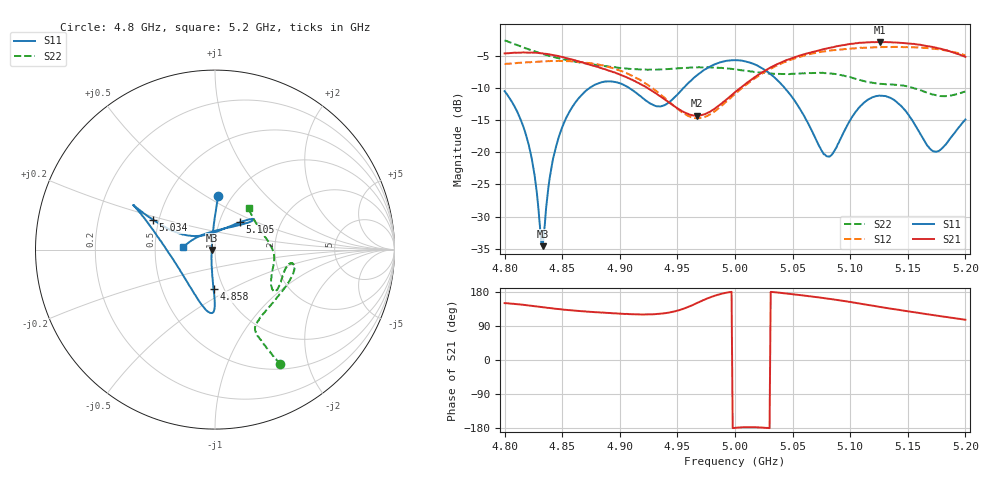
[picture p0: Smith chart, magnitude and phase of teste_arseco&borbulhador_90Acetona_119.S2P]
! Network Analyzer HP8722D
! Hewlett-Packard
! Data name: Linha & Wilkinson
! Saver's name: Rodrigo Anjos
! Comments: Teste da utilização de aquisição
! continua pelo VNA HP8722D
! Time and date: 17/4/2025 12:02
!  Frequency  S11  S21  S12  S22
# HZ  S  MA R 50
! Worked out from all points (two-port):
!   401 points, 4.8 GHz to 5.2 GHz, reference 50 ohm
!   highest |S21| = -2.91 dB at 5.126 GHz (marker M1); lowest = -14.3 dB at 4.967 GHz (marker M2)
!   |S21| within 3 dB of the highest: start of sweep to 4.864 GHz; 5.042 GHz to end of sweep
!   lowest |S11| = -34.6 dB at 4.833 GHz (marker M3), VSWR 1.04, Z = 48.2 - j0.244 ohm
!   |S11| at or under -10 dB: start of sweep to 4.874 GHz; 4.908 GHz to 4.955 GHz (47.62 MHz wide, 0.966 % of centre); 5.043 GHz to end of sweep
!   |S22| runs from -11.3 to -2.7 dB; largest |S21 - S12| = 1.3
!   S11 on the Smith chart (normalised r, x): 4.8 GHz: 0.86, +0.56; 4.858 GHz: 0.90, -0.41; 5.034 GHz: 0.47, +0.18; 5.105 GHz: 1.25, +0.40; 5.2 GHz: 0.70, +0.02
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4.8e9  0.2973 86.7  0.584 150.1  0.4831 -111.5  0.7361 -60.4
4.811e9  0.2058 89.1  0.5912 147.3  0.4933 -111.5  0.6781 -61.3
4.82e9  0.1225 94.0  0.593 144.5  0.499 -110.8  0.6325 -62.0
4.825e9  0.0747 99.9  0.5916 142.4  0.5016 -110.4  0.6097 -62.4
4.831e9  0.02407 136.4  0.586 140.1  0.5048 -109.9  0.5853 -62.8
4.833e9  0.01865 -172.2  0.5841 139.6  0.5061 -109.9  0.5783 -63.0
4.839e9  0.06194 -108.1  0.5725 137.3  0.5081 -109.5  0.5576 -63.3
4.843e9  0.09647 -100.7  0.5655 135.6  0.5097 -109.3  0.5464 -63.4
4.858e9  0.2185 -92.1  0.5263 131.0  0.5061 -109.1  0.5103 -63.8
4.867e9  0.2791 -90.5  0.4985 128.8  0.4996 -109.4  0.4947 -63.2
4.899e9  0.3447 -97.2  0.4038 122.4  0.4328 -113.0  0.4515 -54.8
4.934e9  0.2268 -147.8  0.2749 121.7  0.2869 -116.1  0.4375 -34.8
4.967e9  0.3952 159.0  0.1921 150.5  0.1833 -86.0  0.4549 -17.4
5e9  0.5179 151.4  0.2914 -179.2  0.2833 -49.5  0.4388 -10.1
5.034e9  0.3824 154.3  0.4691 178.9  0.4601 -43.9  0.4055 -15.8
5.067e9  0.1449 148.4  0.5988 167.5  0.5827 -47.3  0.4112 -30.0
5.082e9  0.09237 100.8  0.6464 161.4  0.6128 -50.1  0.4087 -34.3
5.105e9  0.2075 47.5  0.7013 150.5  0.6406 -55.2  0.3693 -32.2
5.126e9  0.2745 38.3  0.7157 140.1  0.6544 -61.5  0.3389 -18.5
5.134e9  0.2656 37.6  0.7141 136.2  0.655 -64.2  0.336 -12.5
5.173e9  0.1011 101.9  0.6505 118.0  0.6342 -77.9  0.2787 20.4
5.2e9  0.1792 175.7  0.5492 106.3  0.5636 -87.0  0.2957 50.8
